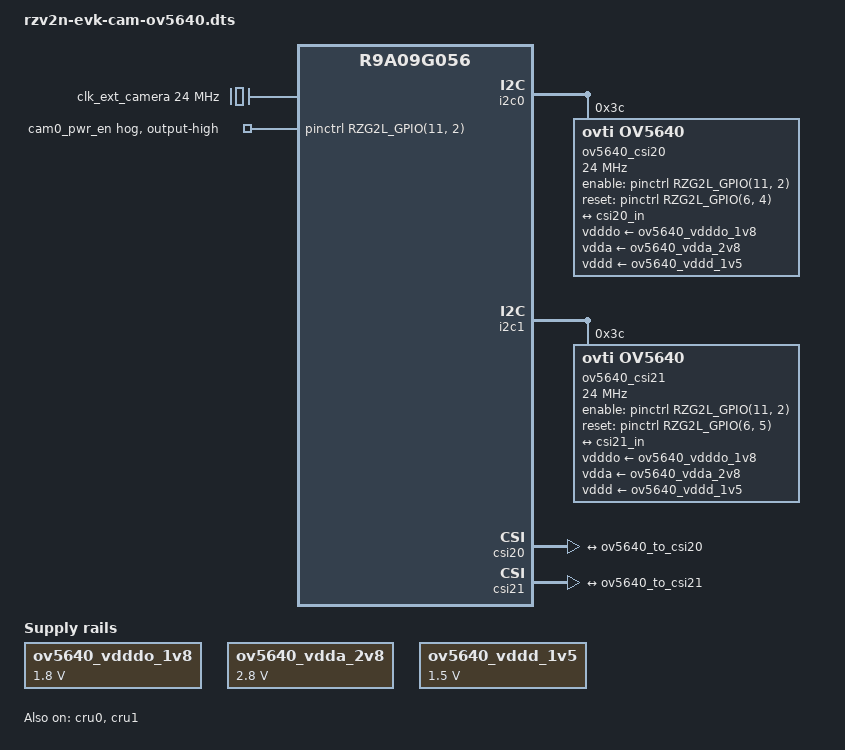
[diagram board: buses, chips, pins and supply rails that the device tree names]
/dts-v1/;
/plugin/;
#include <dt-bindings/interrupt-controller/arm-gic.h>
#include <dt-bindings/pinctrl/rzg2l-pinctrl.h>
#include <dt-bindings/gpio/gpio.h>

/ {
	compatible = "renesas,r9a09g056";

	fragment@0 {
		target-path = "/";

		__overlay__ {
			clk_ext_camera: clk_ext_camera {
				compatible = "fixed-clock";
				#clock-cells = <0>;
				clock-frequency = <24000000>;
			};

			ov5640_vdddo_1v8: 1p8v {
				compatible = "regulator-fixed";
				regulator-name = "camera_vdddo";
				regulator-min-microvolt = <1800000>;
				regulator-max-microvolt = <1800000>;
				regulator-always-on;
			};

			ov5640_vdda_2v8: 2p8v {
				compatible = "regulator-fixed";
				regulator-name = "camera_vdda";
				regulator-min-microvolt = <2800000>;
				regulator-max-microvolt = <2800000>;
				regulator-always-on;
			};

			ov5640_vddd_1v5: 1p5v {
				compatible = "regulator-fixed";
				regulator-name = "camera_vddd";
				regulator-min-microvolt = <1500000>;
				regulator-max-microvolt = <1500000>;
				regulator-always-on;
			};
		};
	};

	fragment@1 {
		target = <&pinctrl>;
		__overlay__ {
			cam0_pwr_en {
				gpio-hog;
				gpios = <RZG2L_GPIO(11, 2) GPIO_ACTIVE_HIGH>;
				output-high;
				line-name = "cam0_pwr_en";
			};
		};
	};

	fragment@2 {
		target = <&i2c0>;
		__overlay__ {
			status = "okay";

			ov5640_csi20: ov5640_csi20@3c {
		                compatible = "ovti,ov5640";
		                reg = <0x3c>;
		                clock-names = "xclk";
		                clocks = <&clk_ext_camera>;
		                clock-frequency = <24000000>;
		                vdddo-supply = <&ov5640_vdddo_1v8>;
		                vdda-supply = <&ov5640_vdda_2v8>;
		                vddd-supply = <&ov5640_vddd_1v5>;
		                /* Set dummy enable gpio */
		                enable-gpios = <&pinctrl RZG2L_GPIO(11, 2) GPIO_ACTIVE_HIGH>;
		                reset-gpios = <&pinctrl RZG2L_GPIO(6, 4) GPIO_ACTIVE_HIGH>;

		                port {
		                        ov5640_to_csi20: endpoint {
		                                clock-lanes = <0>;
		                                data-lanes = <1 2>;
		                                remote-endpoint = <&csi20_in>;
		                        };
		                };
		        };
		};	
	};

	fragment@3 {
		target = <&i2c1>;
		__overlay__ {
			status = "okay";

		        ov5640_csi21: ov5640_csi21@3c {
		                compatible = "ovti,ov5640";
		                reg = <0x3c>;
		                clock-names = "xclk";
		                clocks = <&clk_ext_camera>;
		                clock-frequency = <24000000>;
		                vdddo-supply = <&ov5640_vdddo_1v8>;
		                vdda-supply = <&ov5640_vdda_2v8>;
		                vddd-supply = <&ov5640_vddd_1v5>;
		                /* Set dummy enable gpio */
		                enable-gpios = <&pinctrl RZG2L_GPIO(11, 2) GPIO_ACTIVE_HIGH>;
		                reset-gpios = <&pinctrl RZG2L_GPIO(6, 5) GPIO_ACTIVE_HIGH>;

		                port {
		                        ov5640_to_csi21: endpoint {
		                                clock-lanes = <0>;
		                                data-lanes = <1 2>;
		                                remote-endpoint = <&csi21_in>;
		                        };
		                };
		        };
		};
	};

	fragment@4 {
		target = <&cru0>;
		__overlay__ {
			status = "okay";

			interrupts = <GIC_SPI 838 IRQ_TYPE_LEVEL_HIGH>;
			/delete-property/ interrupt-names;
		};
	};

	fragment@5 {
		target = <&csi20>;
		__overlay__ {
			status = "okay";
			ports {
				port@0 {
					reg = <0>;
					csi20_in: endpoint {
						clock-lanes = <0>;
						data-lanes = <1 2>;
						remote-endpoint = <&ov5640_to_csi20>;
					};
				};
			};
		};
	};

	fragment@6 {
		target = <&cru1>;
		__overlay__ {
			status = "okay";

			interrupts = <GIC_SPI 844 IRQ_TYPE_LEVEL_HIGH>;
			/delete-property/ interrupt-names;
		};
	};

	fragment@7 {
		target = <&csi21>;
		__overlay__ {
			status = "okay";
			ports {
				port@0 {
					reg = <0>;
					csi21_in: endpoint {
						clock-lanes = <0>;
						data-lanes = <1 2>;
						remote-endpoint = <&ov5640_to_csi21>;
					};
				};
			};
		};
	};
};
